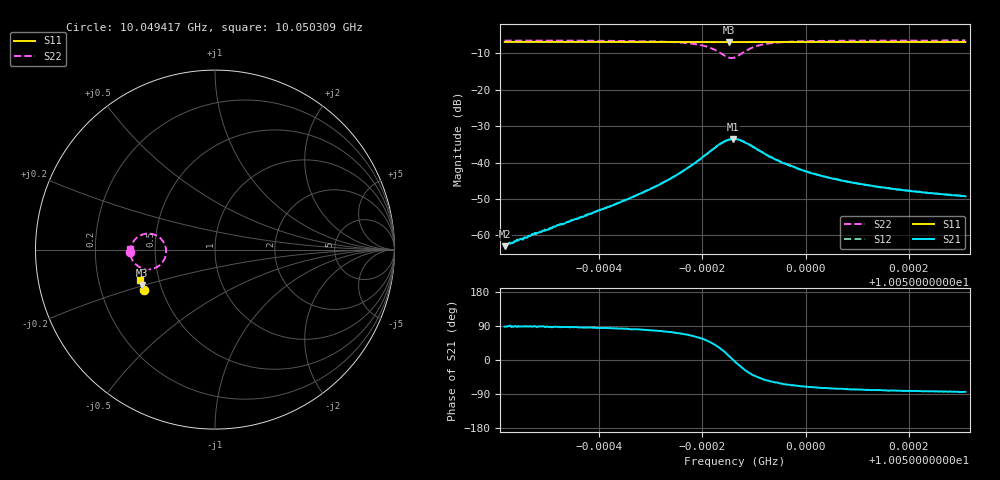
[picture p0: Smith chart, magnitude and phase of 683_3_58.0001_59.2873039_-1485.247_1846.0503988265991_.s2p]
#  HZ  S  RI  R  50.00
! Rohde & Schwarz Vector Network Analyzer
! Rohde-Schwarz,ZNB20-2Port,1311601062101988,3.16
! Created: UTC 3/21/2024, 1:20:57 AM
! freq[Hz]  re:S11  im:S11  re:S21  im:S21  re:S12  im:S12  re:S22  im:S22
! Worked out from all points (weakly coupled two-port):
!   401 points, 10.049417 GHz to 10.050309 GHz, reference 50 ohm
!   highest |S21| = -33.48 dB at 10.049859 GHz (marker M1); lowest = -63.0 dB at 10.049417 GHz (marker M2)
!   lowest |S11| = -6.9 dB at 10.049852 GHz (marker M3), VSWR 2.64, Z = 19.8 - j9.76 ohm
!   |S11| at or under -10 dB: nowhere
!   |S22| runs from -11.3 to -6.5 dB; largest |S21 - S12| = 0.0016
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1.00494174e10  -0.3955 -0.2232  2.45e-05 0.00071  -5.4e-05 0.000725  -0.4738 -0.0149
1.00494731e10  -0.3971 -0.2198  3.25e-05 0.00102  -5.2e-05 0.00102  -0.4734 -0.00856
1.00494999e10  -0.3979 -0.2181  3.51e-05 0.0012  -1.46e-05 0.00121  -0.473 -0.00507
1.00495668e10  -0.4 -0.2144  0.000125 0.0018  2e-05 0.0018  -0.4714 0.00476
1.0049656e10  -0.4026 -0.2088  0.000438 0.00311  0.000258 0.00313  -0.4663 0.0231
1.00497162e10  -0.4044 -0.2052  0.00115 0.00482  0.000868 0.0049  -0.457 0.0423
1.00497586e10  -0.4054 -0.2022  0.00254 0.00687  0.00217 0.00699  -0.4402 0.0627
1.00497987e10  -0.4061 -0.1996  0.00635 0.00961  0.00578 0.00994  -0.3996 0.0857
1.00498143e10  -0.4063 -0.1985  0.00947 0.0105  0.00888 0.0109  -0.3686 0.0895
1.00498299e10  -0.4062 -0.1975  0.0139 0.00989  0.0133 0.0107  -0.327 0.0788
1.00498522e10  -0.4058 -0.1967  0.0205 0.00352  0.02 0.00503  -0.275 0.0124
1.00498589e10  -0.406 -0.1965  0.0212 0.000523  0.0209 0.00198  -0.2725 -0.0172
1.00498634e10  -0.4061 -0.1966  0.021 -0.00161  0.0211 -1.72e-05  -0.2759 -0.037
1.00498745e10  -0.4064 -0.1964  0.0193 -0.0061  0.0195 -0.00463  -0.2987 -0.0778
1.00498857e10  -0.407 -0.1961  0.016 -0.00902  0.0169 -0.0079  -0.3313 -0.1013
1.00499013e10  -0.4079 -0.1954  0.012 -0.0106  0.0128 -0.00978  -0.3739 -0.11
1.00499169e10  -0.4086 -0.1946  0.00872 -0.0105  0.0096 -0.00989  -0.4049 -0.1045
1.00499526e10  -0.41 -0.1923  0.00485 -0.00903  0.00535 -0.00866  -0.4421 -0.0816
1.00500128e10  -0.4119 -0.1887  0.00224 -0.00674  0.00269 -0.00665  -0.4632 -0.0525
1.00500841e10  -0.4138 -0.1842  0.00121 -0.00525  0.00151 -0.00524  -0.4707 -0.0319
1.00501622e10  -0.4159 -0.1793  0.000693 -0.00438  0.000987 -0.00431  -0.4736 -0.0171
1.00503094e10  -0.4194 -0.1703  0.000351 -0.00342  0.000563 -0.00343  -0.4752 0.00185
